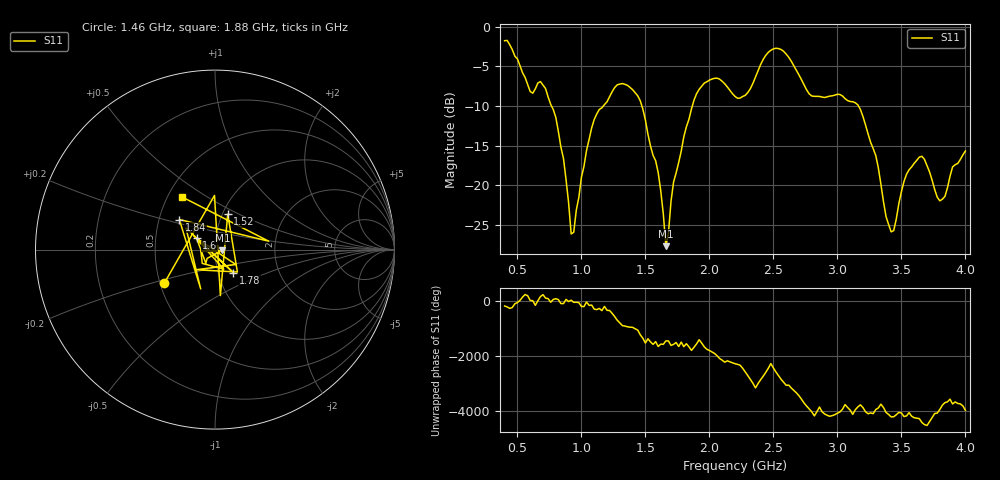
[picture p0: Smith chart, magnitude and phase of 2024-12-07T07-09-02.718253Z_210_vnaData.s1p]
!Created with skrf (http://scikit-rf.org).
# Hz S RI R 50.0
!freq ReS11 ImS11
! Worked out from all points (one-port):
!   181 points, 400 MHz to 4 GHz, reference 50 ohm
!   lowest |S11| = -27.7 dB at 1.66 GHz (marker M1), VSWR 1.09, Z = 54.3 - j0.465 ohm
!   |S11| at or under -10 dB: 766.1 MHz to 1.172 GHz (405.8 MHz wide, 41.9 % of centre); 1.472 GHz to 1.867 GHz (394.5 MHz wide, 23.6 % of centre); 3.164 GHz to end of sweep
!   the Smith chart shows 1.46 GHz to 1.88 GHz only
!   S11 on the Smith chart (normalised r, x): 1.46 GHz: 0.53, -0.22; 1.52 GHz: 1.06, +0.44; 1.6 GHz: 0.81, +0.10; 1.78 GHz: 1.18, -0.31; 1.84 GHz: 0.64, +0.23; 1.88 GHz: 0.59, +0.39
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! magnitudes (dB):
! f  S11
! 400 MHz  -1.8
! 600 MHz  -8.2
! 720 MHz  -7.8
! 860 MHz  -16.6
! 920 MHz  -26.1
! 940 MHz  -25.9
! 1.1 GHz  -11.7
! 1.3 GHz  -7.2
! 1.46 GHz  -9.4
! 1.52 GHz  -13.6
! 1.6 GHz  -18.4
! 1.66 GHz  -27.7
! 1.76 GHz  -17.1
! 1.78 GHz  -15.7
! 1.84 GHz  -11.7
! 1.88 GHz  -9.3
! 2.04 GHz  -6.5
! 2.2 GHz  -8.8
! 2.5 GHz  -2.8
! 2.66 GHz  -4.9
! 2.8 GHz  -8.8
! 3.1 GHz  -9.4
! 3.3 GHz  -16.3
! 3.42 GHz  -25.9
! 3.56 GHz  -18.1
! 3.66 GHz  -16.4
! 3.8 GHz  -22.0
! 4 GHz  -15.7
